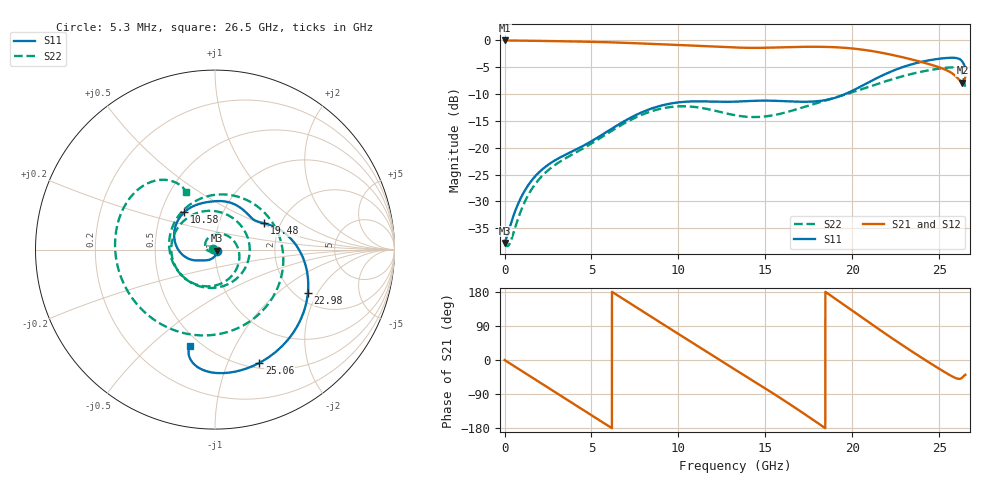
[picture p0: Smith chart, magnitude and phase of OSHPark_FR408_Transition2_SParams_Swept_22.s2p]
! TOUCHSTONE file generated by CST MICROWAVE STUDIO
! Date and time: Tue Jan  7 09:43:35 2020
! Project name: OSHPark_FR408_Transition2.cst
! Parameters = {GND_Plane_XMax=11.5; Cap_Disk_XOffset=0; Cap_Disk2_YCenter=-1.03; Cap_Disk_YCenter=1.03; Cap_Disk_XCenter=7.39; Cap_Disk_Radius=0.5; BottomSupport_Left_YMax=4.76; BottomSupport_Left_YMin=3.74; BottomSupport_Right_YMax=-3.74; BottomSupport_Right_YMin=-4.76; BottomSupport_XMax=11.64; B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
! Header version: 2015
! Port assignment regex: !\s*Touchstone port\s*([0-9]+)\s*=\s*CST MWS port\s*([0-9]+)\s*\(\"(.*)\"\)(\s*mode\s*([0-9]+))?.*
! Touchstone port assignment:
! Touchstone port 1 = CST MWS port 1 ("")
! Touchstone port 2 = CST MWS port 2 ("")
# GHz S MA R 50
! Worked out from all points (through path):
!   5000 points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, 5.3 MHz to 26.5 GHz, reference 50 ohm
!   highest |S21| = 0.00 dB at 5.3 MHz (marker M1); lowest = -7.9 dB at 26.33 GHz (marker M2)
!   group delay of S21, straight-line fit = 82.4 ps
!   lowest |S11| = -37.7 dB at 5.3 MHz (marker M3), VSWR 1.03, Z = 51.2 - j0.536 ohm
!   |S11| at or under -10 dB: start of sweep to 19.58 GHz
!   |S22| runs from -38.3 to -5.0 dB; largest |S21 - S12| = 0
!   S11 on the Smith chart (normalised r, x): 5.3 MHz: 1.02, -0.01; 10.58 GHz: 0.66, +0.30; 19.48 GHz: 1.65, +0.54; 22.98 GHz: 2.33, -1.65; 25.06 GHz: 0.56, -1.31; 26.5 GHz: 0.44, -0.68
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0.0053  0.01298 -23.8  0.9999 -0.2  0.9999 -0.2  0.01301 156.0
1.113  0.03859 -93.9  0.9956 -32.4  0.9956 -32.4  0.03008 -161.0
2.4009  0.06746 -121.4  0.9888 -69.9  0.9888 -69.9  0.05967 156.8
3.3973  0.08447 -134.6  0.9827 -98.9  0.9827 -98.9  0.07794 113.7
4.4255  0.1023 -143.7  0.9757 -128.8  0.9757 -128.8  0.0967 64.4
5.4961  0.1287 -152.3  0.9666 -160.1  0.9666 -160.1  0.1229 11.9
6.5084  0.1629 -163.4  0.9557 170.3  0.9557 170.3  0.1556 -35.0
8.8404  0.2431 159.5  0.9232 102.4  0.9232 102.4  0.2283 -130.9
10.5841  0.2696 129.1  0.899 51.8  0.899 51.8  0.2428 162.8
11.9303  0.2692 108.6  0.88 12.7  0.88 12.7  0.2249 111.6
13.2553  0.269 91.8  0.8603 -25.4  0.8603 -25.4  0.2011 58.3
15.5555  0.274 62.3  0.8595 -91.4  0.8595 -91.4  0.2025 -57.7
17.6702  0.2694 40.8  0.8735 -155.6  0.8735 -155.6  0.2524 -177.3
19.4828  0.3116 28.0  0.8559 146.8  0.8559 146.8  0.3098 83.2
20.776  0.3947 14.0  0.8128 105.1  0.8128 105.1  0.3622 15.6
22.0851  0.5018 -7.4  0.7455 63.6  0.7455 63.6  0.4248 -46.4
22.9808  0.5704 -24.8  0.692 36.0  0.692 36.0  0.4683 -85.0
23.9719  0.632 -45.2  0.6301 6.3  0.6301 6.3  0.5116 -125.0
25.0637  0.6777 -68.6  0.5569 -25.1  0.5569 -25.1  0.5488 -168.0
25.8322  0.6894 -86.8  0.482 -45.4  0.482 -45.4  0.5607 158.5
26.3304  0.6334 -102.0  0.4039 -46.1  0.4039 -46.1  0.486 126.8
26.5  0.5551 -104.6  0.4587 -39.0  0.4587 -39.0  0.3526 116.4
